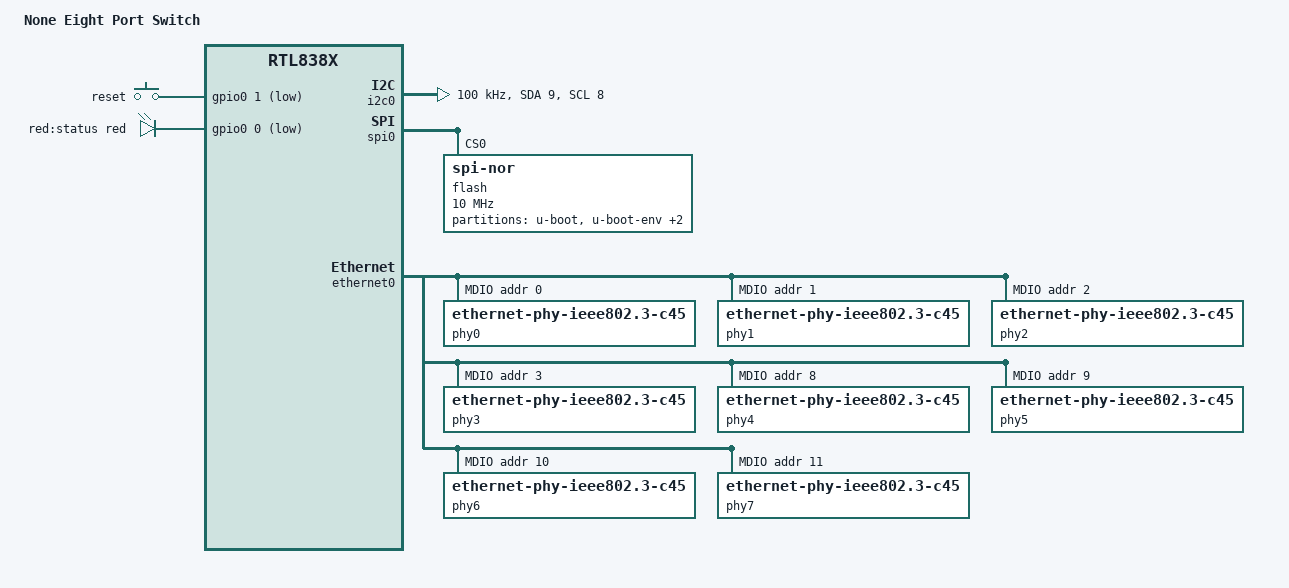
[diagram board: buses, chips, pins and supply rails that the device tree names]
// SPDX-License-Identifier: GPL-2.0-or-later
/dts-v1/;

#include "rtl930x.dtsi"

#include <dt-bindings/input/input.h>
#include <dt-bindings/gpio/gpio.h>
#include <dt-bindings/leds/common.h>

/ {
	compatible = "none,eight", "realtek,rtl838x-soc";
	model = "None Eight Port Switch";

	aliases {
		led-boot = &led_status;
		led-failsafe = &led_status;
		led-upgrade = &led_status;
	};

	keys {
		compatible = "gpio-keys";

		mode {
			label = "reset";
			gpios = <&gpio0 1 GPIO_ACTIVE_LOW>;
			linux,code = <KEY_RESTART>;
		};
	};

	/* TODO test if something can be found on addr 0x74:
	 * i2cget  0 0x74 $WHATEVER
	 */
	i2c0: i2c-rtl9300 {
		compatible = "realtek,rtl9300-i2c";
		reg = <0x1b00036c 0x3c>;
		#address-cells = <1>;
		#size-cells = <0>;
		sda-pin = <9>;
		scl-pin = <8>;
		clock-frequency = <100000>;
	};

	leds {
		compatible = "gpio-leds";

		pinctrl-names = "default";
		pinctrl-0 = <&pinmux_disable_sys_led>;

		led_status: led-0 {
			label = "red:status";
			color = <LED_COLOR_ID_RED>;
			function = LED_FUNCTION_STATUS;
			gpios = <&gpio0 0 GPIO_ACTIVE_LOW>;
		};
	};

	led_set: led_set@0 {
		compatible = "realtek,rtl9300-leds";
		active-low;

		led_set0 = <0x0bff 0x0bff>;
	};
};

&spi0 {
	status = "okay";
	flash@0 {
		compatible = "jedec,spi-nor";
		reg = <0>;
		spi-max-frequency = <10000000>;

		partitions {
			compatible = "fixed-partitions";
			#address-cells = <1>;
			#size-cells = <1>;

			partition@0 {
				label = "u-boot";
				reg = <0x0 0xe0000>;
				read-only;
			};
			partition@e0000 {
				label = "u-boot-env";
				reg = <0xe0000 0x10000>;
			};
			partition@f0000 {
				label = "u-boot-env2";
				reg = <0xf0000 0x10000>;
				read-only;
			};
			partition@100000 {
				label = "firmware";
				reg = <0x100000 0x1f00000>;
				compatible = "openwrt,uimage", "denx,uimage";
				openwrt,ih-magic = <0x93000000>;
			};
		};
	};
};

&ethernet0 {
	mdio: mdio-bus {
		compatible = "realtek,rtl838x-mdio";
		regmap = <&ethernet0>;
		#address-cells = <1>;
		#size-cells = <0>;

		/* External RTL8224 PHY */
		phy0: ethernet-phy@0 {
			reg = <0>;
			compatible = "ethernet-phy-ieee802.3-c45";
			rtl9300,smi-address = <0 0>;
			sds = < 2 >;
		};
		phy1: ethernet-phy@1 {
			reg = <1>;
			compatible = "ethernet-phy-ieee802.3-c45";
			rtl9300,smi-address = <0 1>;
			sds = < 2 >;
		};
		phy2: ethernet-phy@2 {
			reg = <2>;
			compatible = "ethernet-phy-ieee802.3-c45";
			rtl9300,smi-address = <0 2>;
			sds = < 2 >;
		};
		phy3: ethernet-phy@3 {
			reg = <3>;
			compatible = "ethernet-phy-ieee802.3-c45";
			rtl9300,smi-address = <0 3>;
			sds = < 2 >;
		};

		phy4: ethernet-phy@4 {
			reg = <8>;
			compatible = "ethernet-phy-ieee802.3-c45";
			rtl9300,smi-address = <0 4>;
			sds = < 3 >;
		};
		phy5: ethernet-phy@5 {
			reg = <9>;
			compatible = "ethernet-phy-ieee802.3-c45";
			rtl9300,smi-address = <0 5>;
			sds = < 3 >;
		};
		phy6: ethernet-phy@6 {
			reg = <10>;
			compatible = "ethernet-phy-ieee802.3-c45";
			rtl9300,smi-address = <0 6>;
			sds = < 3 >;
		};
		phy7: ethernet-phy@7 {
			reg = <11>;
			compatible = "ethernet-phy-ieee802.3-c45";
			rtl9300,smi-address = <0 7>;
			sds = < 3 >;
		};
	};
};

&switch0 {
	ports {
		#address-cells = <1>;
		#size-cells = <0>;

		port@0 {
			reg = <0>;
			label = "lan0";
			phy-mode = "usxgmii";
			phy-handle = <&phy0>;
			led-set = <0>;
		};
		port@1 {
			reg = <1>;
			label = "lan1";
			phy-mode = "usxgmii";
			phy-handle = <&phy1>;
			led-set = <0>;
		};
		port@2 {
			reg = <2>;
			label = "lan2";
			phy-mode = "usxgmii";
			phy-handle = <&phy2>;
			led-set = <0>;
		};
		port@3 {
			reg = <3>;
			label = "lan3";
			phy-mode = "usxgmii";
			phy-handle = <&phy3>;
			led-set = <0>;
		};

		port@8 {
			reg = <8>;
			label = "lan4";
			phy-mode = "usxgmii";
			phy-handle = <&phy4>;
			led-set = <0>;
		};
		port@9 {
			reg = <9>;
			label = "lan5";
			phy-mode = "usxgmii";
			phy-handle = <&phy5>;
			led-set = <0>;
		};
		port@10 {
			reg = <10>;
			label = "lan6";
			phy-mode = "usxgmii";
			phy-handle = <&phy6>;
			led-set = <0>;
		};
		port@11 {
			reg = <11>;
			label = "lan7";
			phy-mode = "usxgmii";
			phy-handle = <&phy7>;
			led-set = <0>;
		};

		port@28 {
			ethernet = <&ethernet0>;
			reg = <28>;
			// phy-mode = "usxgmii";
			phy-mode = "internal";
			fixed-link {
				speed = <10000>;
				full-duplex;
			};
		};
	};
};
